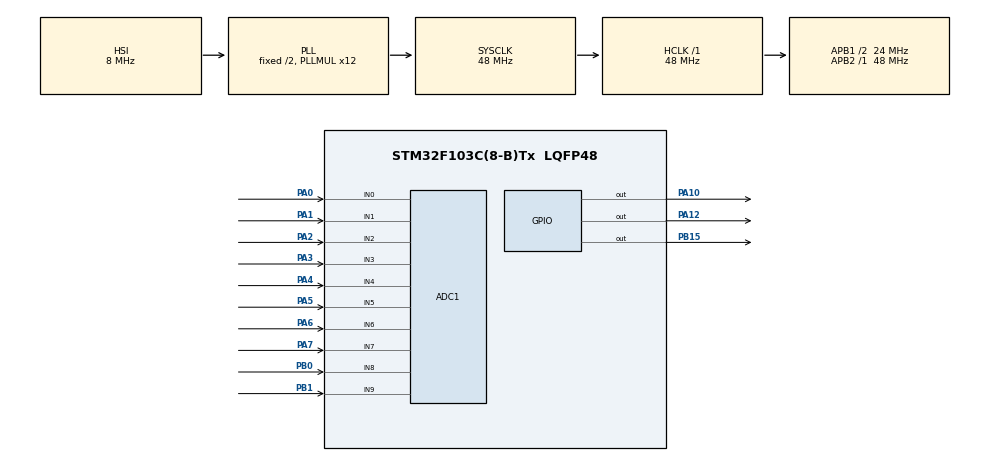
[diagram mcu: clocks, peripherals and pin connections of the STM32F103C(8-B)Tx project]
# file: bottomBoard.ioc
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ADC1.Channel-12\#ChannelRegularConversion=ADC_CHANNEL_5
ADC1.Channel-13\#ChannelRegularConversion=ADC_CHANNEL_6
ADC1.Channel-14\#ChannelRegularConversion=ADC_CHANNEL_7
ADC1.Channel-15\#ChannelRegularConversion=ADC_CHANNEL_8
ADC1.Channel-16\#ChannelRegularConversion=ADC_CHANNEL_9
ADC1.Channel-4\#ChannelRegularConversion=ADC_CHANNEL_0
ADC1.Channel-5\#ChannelRegularConversion=ADC_CHANNEL_1
ADC1.Channel-6\#ChannelRegularConversion=ADC_CHANNEL_2
ADC1.Channel-7\#ChannelRegularConversion=ADC_CHANNEL_3
ADC1.Channel-8\#ChannelRegularConversion=ADC_CHANNEL_4
ADC1.ContinuousConvMode=ENABLE
ADC1.DataAlign=ADC_DATAALIGN_LEFT
ADC1.NbrOfConversion=10
ADC1.NbrOfConversionFlag=1
ADC1.Rank-12\#ChannelRegularConversion=6
ADC1.Rank-13\#ChannelRegularConversion=7
ADC1.Rank-14\#ChannelRegularConversion=8
ADC1.Rank-15\#ChannelRegularConversion=9
ADC1.Rank-16\#ChannelRegularConversion=10
ADC1.Rank-4\#ChannelRegularConversion=1
ADC1.Rank-5\#ChannelRegularConversion=2
ADC1.Rank-6\#ChannelRegularConversion=3
ADC1.Rank-7\#ChannelRegularConversion=4
ADC1.Rank-8\#ChannelRegularConversion=5
ADC1.SamplingTime-12\#ChannelRegularConversion=ADC_SAMPLETIME_1CYCLE_5
ADC1.SamplingTime-13\#ChannelRegularConversion=ADC_SAMPLETIME_1CYCLE_5
ADC1.SamplingTime-14\#ChannelRegularConversion=ADC_SAMPLETIME_1CYCLE_5
ADC1.SamplingTime-15\#ChannelRegularConversion=ADC_SAMPLETIME_1CYCLE_5
ADC1.SamplingTime-16\#ChannelRegularConversion=ADC_SAMPLETIME_1CYCLE_5
ADC1.SamplingTime-4\#ChannelRegularConversion=ADC_SAMPLETIME_1CYCLE_5
ADC1.SamplingTime-5\#ChannelRegularConversion=ADC_SAMPLETIME_1CYCLE_5
ADC1.SamplingTime-6\#ChannelRegularConversion=ADC_SAMPLETIME_1CYCLE_5
ADC1.SamplingTime-7\#ChannelRegularConversion=ADC_SAMPLETIME_1CYCLE_5
ADC1.SamplingTime-8\#ChannelRegularConversion=ADC_SAMPLETIME_1CYCLE_5
ADC1.master=1
Dma.ADC1.0.Direction=DMA_PERIPH_TO_MEMORY
Dma.ADC1.0.Instance=DMA1_Channel1
Dma.ADC1.0.MemDataAlignment=DMA_MDATAALIGN_WORD
Dma.ADC1.0.MemInc=DMA_MINC_ENABLE
Dma.ADC1.0.Mode=DMA_CIRCULAR
Dma.ADC1.0.PeriphDataAlignment=DMA_PDATAALIGN_WORD
Dma.ADC1.0.PeriphInc=DMA_PINC_DISABLE
Dma.ADC1.0.Priority=DMA_PRIORITY_LOW
Dma.Request0=ADC1
Mcu.Family=STM32F1
Mcu.Name=STM32F103C(8-B)Tx
Mcu.Package=LQFP48
NVIC.DMA1_Channel1_IRQn=true\:0\:0\:false\:false\:true\:false\:true\:true
NVIC.PriorityGroup=NVIC_PRIORITYGROUP_4
PA0-WKUP.Signal=ADCx_IN0
PA1.Signal=ADCx_IN1
PA10.Signal=GPIO_Output
PA12.Signal=GPIO_Output
PA13.Mode=Serial_Wire
PA13.Signal=SYS_JTMS-SWDIO
PA14.Mode=Serial_Wire
PA14.Signal=SYS_JTCK-SWCLK
PA2.Signal=ADCx_IN2
PA3.Signal=ADCx_IN3
PA4.Signal=ADCx_IN4
PA5.Signal=ADCx_IN5
PA6.Signal=ADCx_IN6
PA7.Signal=ADCx_IN7
PB0.Signal=ADCx_IN8
PB1.Signal=ADCx_IN9
PB15.Signal=GPIO_Output
ProjectManager.HeapSize=0x200
ProjectManager.StackSize=0x400
ProjectManager.TargetToolchain=STM32CubeIDE
RCC.ADCPresc=RCC_ADCPCLK2_DIV4
RCC.AHBFreq_Value=48000000
RCC.APB1CLKDivider=RCC_HCLK_DIV2
RCC.APB1Freq_Value=24000000
RCC.APB1TimFreq_Value=48000000
RCC.APB2Freq_Value=48000000
RCC.APB2TimFreq_Value=48000000
RCC.HCLKFreq_Value=48000000
RCC.PLLMUL=RCC_PLL_MUL12
RCC.SYSCLKFreq_VALUE=48000000
RCC.SYSCLKSource=RCC_SYSCLKSOURCE_PLLCLK
RCC.USBFreq_Value=48000000
SH.ADCx_IN0.0=ADC1_IN0,IN0
SH.ADCx_IN1.0=ADC1_IN1,IN1
SH.ADCx_IN2.0=ADC1_IN2,IN2
SH.ADCx_IN3.0=ADC1_IN3,IN3
SH.ADCx_IN4.0=ADC1_IN4,IN4
SH.ADCx_IN5.0=ADC1_IN5,IN5
SH.ADCx_IN6.0=ADC1_IN6,IN6
SH.ADCx_IN7.0=ADC1_IN7,IN7
SH.ADCx_IN8.0=ADC1_IN8,IN8
SH.ADCx_IN9.0=ADC1_IN9,IN9
board=custom

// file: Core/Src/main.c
/* USER CODE BEGIN Header */
/**
  ******************************************************************************
  * @file           : main.c
  * @brief          : Main program body
  ******************************************************************************
  * @attention
  *
  * Copyright (c) 2023 STMicroelectronics.
  * All rights reserved.
  *
  * This software is licensed under terms that can be found in the LICENSE file
  * in the root directory of this software component.
  * If no LICENSE file comes with this software, it is provided AS-IS.
  *
  ******************************************************************************
  */
/* USER CODE END Header */
#include "main.h"

/* USER CODE BEGIN Includes */
// For robot 0
//#define LDRF1_TH 2000
//#define LDRF2_TH 26000
//#define LDRB1_TH 32000
//#define LDRB2_TH 26500
//#define LDRR1_TH 28000
//#define LDRR2_TH 30000
//#define LDRL1_TH 35500
//#define LDRL2_TH 49500
//#define LDRM1_TH 28200
//#define LDRM2_TH 17000
// For robot 1
#define LDRF1_TH 18000
#define LDRF2_TH 28000
#define LDRB1_TH 44500
#define LDRB2_TH 33000
#define LDRR1_TH 24000
#define LDRR2_TH 28000
#define LDRL1_TH 23000
#define LDRL2_TH 31000
#define LDRM1_TH 26000
#define LDRM2_TH 28000
/* USER CODE END Includes */

/* USER CODE BEGIN PTD */
/* {
 *		0 LDR F_2
 *		1 LDR L_2
 *		2 LDR L_1
 *		3 LDR F_1
 *		4 LDR M_1
 *		5 LDR M_2
 *		6 LDR R_1
 *		7 LDR B_2
 *		8 LDR B_1
 *		9 LDR R_2
 * }
 */
uint32_t values[10] = {};
/* USER CODE END PTD */

ADC_HandleTypeDef hadc1;
DMA_HandleTypeDef hdma_adc1;

/* USER CODE BEGIN PV */
int outCheck = 0;
uint32_t startCounter = 0;
int started = 0;
/* USER CODE END PV */

void SystemClock_Config(void);
static void MX_GPIO_Init(void);
static void MX_DMA_Init(void);
static void MX_ADC1_Init(void);

/* USER CODE BEGIN 0 */
void sendInterrupt() {
	HAL_GPIO_WritePin(GPIOB, GPIO_PIN_15, GPIO_PIN_RESET);
	HAL_Delay(50);
	HAL_GPIO_WritePin(GPIOB, GPIO_PIN_15, GPIO_PIN_SET);
	HAL_Delay(50);
}

void ReadLDR() {
	// Front LDRs
	if ((values[0] <= LDRF2_TH) || (values[3] <= LDRF1_TH)) {
		HAL_GPIO_WritePin(GPIOA, GPIO_PIN_12, GPIO_PIN_SET);
		HAL_GPIO_WritePin(GPIOA, GPIO_PIN_10, GPIO_PIN_SET);
		outCheck = 1;
		sendInterrupt();
		HAL_GPIO_WritePin(GPIOA, GPIO_PIN_12, GPIO_PIN_SET);
		HAL_GPIO_WritePin(GPIOA, GPIO_PIN_10, GPIO_PIN_SET);
		return;
	}
	else outCheck = 0;

	// Back LDRs
	if ((values[7] <= LDRB2_TH) || (values[8] <= LDRB1_TH)) {
		HAL_GPIO_WritePin(GPIOA, GPIO_PIN_12, GPIO_PIN_RESET);
		HAL_GPIO_WritePin(GPIOA, GPIO_PIN_10, GPIO_PIN_SET);
		outCheck = 2;
		sendInterrupt();
		HAL_GPIO_WritePin(GPIOA, GPIO_PIN_12, GPIO_PIN_SET);
		HAL_GPIO_WritePin(GPIOA, GPIO_PIN_10, GPIO_PIN_SET);
		return;
	}
	else outCheck = 0;

	// Left LDRs
	if ((values[1] < LDRL2_TH) || (values[2] < LDRL1_TH)) {
		HAL_GPIO_WritePin(GPIOA, GPIO_PIN_12, GPIO_PIN_RESET);
		HAL_GPIO_WritePin(GPIOA, GPIO_PIN_10, GPIO_PIN_RESET);
		outCheck = 3;
		sendInterrupt();
		HAL_GPIO_WritePin(GPIOA, GPIO_PIN_12, GPIO_PIN_SET);
		HAL_GPIO_WritePin(GPIOA, GPIO_PIN_10, GPIO_PIN_SET);
		return;
	}
	else outCheck = 0;

	// Right LDRs
	if ((values[9] < LDRR2_TH) || (values[6] < LDRR1_TH)) {
		HAL_GPIO_WritePin(GPIOA, GPIO_PIN_12, GPIO_PIN_SET);
		HAL_GPIO_WritePin(GPIOA, GPIO_PIN_10, GPIO_PIN_RESET);
		outCheck = 4;
		sendInterrupt();
		HAL_GPIO_WritePin(GPIOA, GPIO_PIN_12, GPIO_PIN_SET);
		HAL_GPIO_WritePin(GPIOA, GPIO_PIN_10, GPIO_PIN_SET);
		return;
	}
	else outCheck = 0;

	// Middle LDRs
	if ((values[5] < LDRM2_TH) || (values[4] < LDRM1_TH)) {
		HAL_GPIO_WritePin(GPIOA, GPIO_PIN_12, GPIO_PIN_SET);
		HAL_GPIO_WritePin(GPIOA, GPIO_PIN_10, GPIO_PIN_SET);
		outCheck = 5;
		sendInterrupt();
		HAL_GPIO_WritePin(GPIOA, GPIO_PIN_12, GPIO_PIN_SET);
		HAL_GPIO_WritePin(GPIOA, GPIO_PIN_10, GPIO_PIN_SET);
		return;
	}
	else outCheck = 0;
}

/* USER CODE END 0 */

int main(void)
{

  /* MCU Configuration--------------------------------------------------------*/

  /* Reset of all peripherals, Initializes the Flash interface and the Systick. */
  HAL_Init();

  /* Configure the system clock */
  SystemClock_Config();

  /* Initialize all configured peripherals */
  MX_GPIO_Init();
  MX_DMA_Init();
  MX_ADC1_Init();
  /* USER CODE BEGIN 2 */

  HAL_ADC_Start_DMA(&hadc1, values, 10);

  HAL_GPIO_WritePin(GPIOA, GPIO_PIN_12, GPIO_PIN_SET);
  HAL_GPIO_WritePin(GPIOB, GPIO_PIN_15, GPIO_PIN_SET);
  HAL_GPIO_WritePin(GPIOA, GPIO_PIN_10, GPIO_PIN_SET);

  /* USER CODE END 2 */

  /* Infinite loop */
  /* USER CODE BEGIN WHILE */
  while (1)
  {
	  HAL_ADC_Start_DMA(&hadc1, values, 10);

	  startCounter++;

	  if(startCounter >= 20) {
		  started = 1;
	  }

	  if(started) {
		  ReadLDR();
	  }

	  HAL_Delay(1);
    /* USER CODE END WHILE */

  }
}

void SystemClock_Config(void)
{
  RCC_OscInitTypeDef RCC_OscInitStruct = {0};
  RCC_ClkInitTypeDef RCC_ClkInitStruct = {0};
  RCC_PeriphCLKInitTypeDef PeriphClkInit = {0};

  /** Initializes the RCC Oscillators according to the specified parameters
  * in the RCC_OscInitTypeDef structure.
  */
  RCC_OscInitStruct.OscillatorType = RCC_OSCILLATORTYPE_HSI;
  RCC_OscInitStruct.HSIState = RCC_HSI_ON;
  RCC_OscInitStruct.HSICalibrationValue = RCC_HSICALIBRATION_DEFAULT;
  RCC_OscInitStruct.PLL.PLLState = RCC_PLL_ON;
  RCC_OscInitStruct.PLL.PLLSource = RCC_PLLSOURCE_HSI_DIV2;
  RCC_OscInitStruct.PLL.PLLMUL = RCC_PLL_MUL12;
  if (HAL_RCC_OscConfig(&RCC_OscInitStruct) != HAL_OK)
  {
    Error_Handler();
  }

  /** Initializes the CPU, AHB and APB buses clocks
  */
  RCC_ClkInitStruct.ClockType = RCC_CLOCKTYPE_HCLK|RCC_CLOCKTYPE_SYSCLK
                              |RCC_CLOCKTYPE_PCLK1|RCC_CLOCKTYPE_PCLK2;
  RCC_ClkInitStruct.SYSCLKSource = RCC_SYSCLKSOURCE_PLLCLK;
  RCC_ClkInitStruct.AHBCLKDivider = RCC_SYSCLK_DIV1;
  RCC_ClkInitStruct.APB1CLKDivider = RCC_HCLK_DIV2;
  RCC_ClkInitStruct.APB2CLKDivider = RCC_HCLK_DIV1;

  if (HAL_RCC_ClockConfig(&RCC_ClkInitStruct, FLASH_LATENCY_1) != HAL_OK)
  {
    Error_Handler();
  }
  PeriphClkInit.PeriphClockSelection = RCC_PERIPHCLK_ADC;
  PeriphClkInit.AdcClockSelection = RCC_ADCPCLK2_DIV4;
  if (HAL_RCCEx_PeriphCLKConfig(&PeriphClkInit) != HAL_OK)
  {
    Error_Handler();
  }
}

static void MX_ADC1_Init(void)
{

  ADC_ChannelConfTypeDef sConfig = {0};

  /** Common config
  */
  hadc1.Instance = ADC1;
  hadc1.Init.ScanConvMode = ADC_SCAN_ENABLE;
  hadc1.Init.ContinuousConvMode = ENABLE;
  hadc1.Init.DiscontinuousConvMode = DISABLE;
  hadc1.Init.ExternalTrigConv = ADC_SOFTWARE_START;
  hadc1.Init.DataAlign = ADC_DATAALIGN_LEFT;
  hadc1.Init.NbrOfConversion = 10;
  if (HAL_ADC_Init(&hadc1) != HAL_OK)
  {
    Error_Handler();
  }

  /** Configure Regular Channel
  */
  sConfig.Channel = ADC_CHANNEL_0;
  sConfig.Rank = ADC_REGULAR_RANK_1;
  sConfig.SamplingTime = ADC_SAMPLETIME_1CYCLE_5;
  if (HAL_ADC_ConfigChannel(&hadc1, &sConfig) != HAL_OK)
  {
    Error_Handler();
  }

  /** Configure Regular Channel
  */
  sConfig.Channel = ADC_CHANNEL_1;
  sConfig.Rank = ADC_REGULAR_RANK_2;
  if (HAL_ADC_ConfigChannel(&hadc1, &sConfig) != HAL_OK)
  {
    Error_Handler();
  }

  /** Configure Regular Channel
  */
  sConfig.Channel = ADC_CHANNEL_2;
  sConfig.Rank = ADC_REGULAR_RANK_3;
  if (HAL_ADC_ConfigChannel(&hadc1, &sConfig) != HAL_OK)
  {
    Error_Handler();
  }

  /** Configure Regular Channel
  */
  sConfig.Channel = ADC_CHANNEL_3;
  sConfig.Rank = ADC_REGULAR_RANK_4;
  if (HAL_ADC_ConfigChannel(&hadc1, &sConfig) != HAL_OK)
  {
    Error_Handler();
  }

  /** Configure Regular Channel
  */
  sConfig.Channel = ADC_CHANNEL_4;
  sConfig.Rank = ADC_REGULAR_RANK_5;
  if (HAL_ADC_ConfigChannel(&hadc1, &sConfig) != HAL_OK)
  {
    Error_Handler();
  }

  /** Configure Regular Channel
  */
  sConfig.Channel = ADC_CHANNEL_5;
  sConfig.Rank = ADC_REGULAR_RANK_6;
  if (HAL_ADC_ConfigChannel(&hadc1, &sConfig) != HAL_OK)
  {
    Error_Handler();
  }

  /** Configure Regular Channel
  */
  sConfig.Channel = ADC_CHANNEL_6;
  sConfig.Rank = ADC_REGULAR_RANK_7;
  if (HAL_ADC_ConfigChannel(&hadc1, &sConfig) != HAL_OK)
  {
    Error_Handler();
  }

  /** Configure Regular Channel
  */
  sConfig.Channel = ADC_CHANNEL_7;
  sConfig.Rank = ADC_REGULAR_RANK_8;
  if (HAL_ADC_ConfigChannel(&hadc1, &sConfig) != HAL_OK)
  {
    Error_Handler();
  }

  /** Configure Regular Channel
  */
  sConfig.Channel = ADC_CHANNEL_8;
  sConfig.Rank = ADC_REGULAR_RANK_9;
  if (HAL_ADC_ConfigChannel(&hadc1, &sConfig) != HAL_OK)
  {
    Error_Handler();
  }

  /** Configure Regular Channel
  */
  sConfig.Channel = ADC_CHANNEL_9;
  sConfig.Rank = ADC_REGULAR_RANK_10;
  if (HAL_ADC_ConfigChannel(&hadc1, &sConfig) != HAL_OK)
  {
    Error_Handler();
  }

}

static void MX_DMA_Init(void)
{

  /* DMA controller clock enable */
  __HAL_RCC_DMA1_CLK_ENABLE();

  /* DMA interrupt init */
  /* DMA1_Channel1_IRQn interrupt configuration */
  HAL_NVIC_SetPriority(DMA1_Channel1_IRQn, 0, 0);
  HAL_NVIC_EnableIRQ(DMA1_Channel1_IRQn);

}

static void MX_GPIO_Init(void)
{
  GPIO_InitTypeDef GPIO_InitStruct = {0};

  /* GPIO Ports Clock Enable */
  __HAL_RCC_GPIOA_CLK_ENABLE();
  __HAL_RCC_GPIOB_CLK_ENABLE();

  /*Configure GPIO pin Output Level */
  HAL_GPIO_WritePin(GPIOB, GPIO_PIN_15, GPIO_PIN_RESET);

  /*Configure GPIO pin Output Level */
  HAL_GPIO_WritePin(GPIOA, GPIO_PIN_10|GPIO_PIN_12, GPIO_PIN_RESET);

  /*Configure GPIO pin : PB15 */
  GPIO_InitStruct.Pin = GPIO_PIN_15;
  GPIO_InitStruct.Mode = GPIO_MODE_OUTPUT_PP;
  GPIO_InitStruct.Pull = GPIO_NOPULL;
  GPIO_InitStruct.Speed = GPIO_SPEED_FREQ_LOW;
  HAL_GPIO_Init(GPIOB, &GPIO_InitStruct);

  /*Configure GPIO pins : PA10 PA12 */
  GPIO_InitStruct.Pin = GPIO_PIN_10|GPIO_PIN_12;
  GPIO_InitStruct.Mode = GPIO_MODE_OUTPUT_PP;
  GPIO_InitStruct.Pull = GPIO_NOPULL;
  GPIO_InitStruct.Speed = GPIO_SPEED_FREQ_LOW;
  HAL_GPIO_Init(GPIOA, &GPIO_InitStruct);

}

void Error_Handler(void)
{
  __disable_irq();
  while (1)
  {
  }
}
